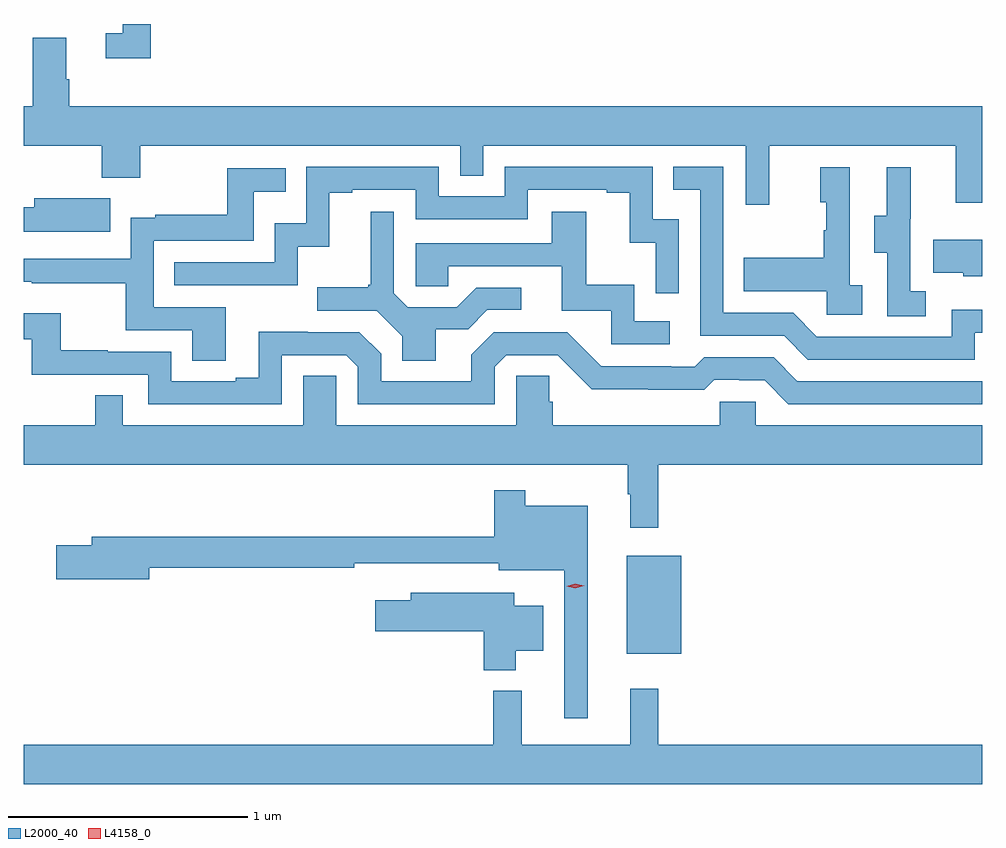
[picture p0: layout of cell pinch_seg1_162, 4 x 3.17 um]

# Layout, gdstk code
import gdstk
lib = gdstk.Library(unit=1e-6, precision=1e-09)
def R(c, l, rs):  # rectangles x0, y0, x1, y1
    for r in rs: c.add(gdstk.rectangle(r[:2], r[2:], *l))
def P(c, l, *ps):  # polygons
    for p in ps: c.add(gdstk.Polygon(p, *l))
L2000_40 = (2000, 40)
L4158_0 = (4158, 0)

pinch_seg1_162 = lib.new_cell('pinch_seg1_162')
R(pinch_seg1_162, L2000_40, [(1105.223,545.615,1105.45,546.025)])
P(pinch_seg1_162, L2000_40, [(1103.237,548.243),(1103.121,548.243),(1103.121,548.205),(1103.049,548.205),(1103.049,548.1),(1103.237,548.1)],
  [(1105.817,547.736),(1106.597,547.736),(1106.597,547.497),(1106.707,547.497),(1106.707,547.9),(1102.898,547.9),(1102.898,548.012),(1102.885,548.012),(1102.885,548.186),(1102.745,548.186),(1102.745,547.9),(1102.707,547.9),(1102.707,547.736),(1103.033,547.736),(1103.033,547.601),(1103.193,547.601),(1103.193,547.736),(1104.528,547.736),(1104.528,547.609),(1104.624,547.609),(1104.624,547.736),(1105.719,547.736),(1105.719,547.488),(1105.817,547.488)],
  [(1106.676,546.954),(1106.707,546.954),(1106.707,547.051),(1106.58,547.051),(1106.58,546.939),(1106.016,546.939),(1105.917,547.038),(1105.626,547.038),(1105.626,547.647),(1105.417,547.647),(1105.417,547.551),(1105.53,547.551),(1105.53,546.942),(1105.88,546.942),(1105.979,546.843),(1106.676,546.843)],
  [(1105.44,547.428),(1105.332,547.428),(1105.332,547.647),(1104.714,547.647),(1104.714,547.524),(1104.438,547.524),(1104.438,547.647),(1103.886,547.647),(1103.886,547.411),(1103.754,547.411),(1103.754,547.248),(1103.335,547.248),(1103.335,547.152),(1103.85,547.152),(1103.85,547.313),(1103.983,547.313),(1103.983,547.539),(1104.079,547.539),(1104.079,547.551),(1104.342,547.551),(1104.342,547.428),(1104.81,547.428),(1104.81,547.551),(1105.139,547.551),(1105.139,547.539),(1105.235,547.539),(1105.235,547.331),(1105.344,547.331),(1105.344,547.119),(1105.44,547.119)],
  [(1106.47,547.127),(1106.406,547.127),(1106.406,547.431),(1106.408,547.431),(1106.408,547.645),(1106.309,547.645),(1106.309,547.443),(1106.255,547.443),(1106.255,547.288),(1106.31,547.288),(1106.31,547.024),(1106.47,547.024)],
  [(1106.206,547.154),(1106.154,547.154),(1106.154,547.645),(1106.03,547.645),(1106.03,547.5),(1106.056,547.5),(1106.056,547.382),(1106.046,547.382),(1106.046,547.267),(1105.711,547.267),(1105.711,547.127),(1106.058,547.127),(1106.058,547.029),(1106.206,547.029)],
  [(1103.551,547.062),(1103.25,547.062),(1103.25,547.338),(1103.667,547.338),(1103.667,547.544),(1103.801,547.544),(1103.801,547.641),(1103.556,547.641),(1103.556,547.447),(1103.257,547.447),(1103.257,547.435),(1103.154,547.435),(1103.154,547.263),(1102.707,547.263),(1102.707,547.167),(1102.741,547.167),(1102.741,547.162),(1103.134,547.162),(1103.134,546.966),(1103.411,546.966),(1103.411,546.838),(1103.551,546.838)],
  [(1103.069,547.516),(1102.751,547.516),(1102.751,547.478),(1102.707,547.478),(1102.707,547.377),(1102.855,547.377),(1102.855,547.376),(1103.069,547.376)],
  [(1104.427,546.97),(1104.562,546.97),(1104.642,547.05),(1104.784,547.05),(1104.784,547.143),(1104.596,547.143),(1104.515,547.062),(1104.309,547.062),(1104.252,547.119),(1104.252,547.459),(1104.155,547.459),(1104.155,547.156),(1104.144,547.156),(1104.144,547.144),(1103.931,547.144),(1103.931,547.047),(1104.18,547.047),(1104.287,546.94),(1104.287,546.838),(1104.427,546.838)],
  [(1105.402,547.002),(1105.254,547.002),(1105.254,547.156),(1105.055,547.156),(1105.055,547.459),(1104.911,547.459),(1104.911,547.329),(1104.342,547.329),(1104.342,547.149),(1104.479,547.149),(1104.479,547.233),(1104.953,547.233),(1104.953,547.047),(1105.158,547.047),(1105.158,546.906),(1105.402,546.906)],
  [(1106.707,547.342),(1106.503,547.342),(1106.503,547.205),(1106.628,547.205),(1106.628,547.19),(1106.707,547.19)],
  [(1103.784,546.861),(1104.054,546.861),(1104.102,546.813),(1104.102,546.657),(1104.672,546.657),(1104.672,546.813),(1104.72,546.861),(1104.936,546.861),(1105.078,546.719),(1105.314,546.719),(1105.314,546.717),(1105.547,546.717),(1105.589,546.759),(1105.692,546.759),(1105.692,546.756),(1105.799,546.756),(1105.898,546.657),(1106.707,546.657),(1106.707,546.753),(1105.935,546.753),(1105.836,546.852),(1105.547,546.852),(1105.508,546.813),(1105.409,546.813),(1105.409,546.816),(1105.116,546.816),(1104.975,546.957),(1104.669,546.957),(1104.575,546.863),(1104.575,546.753),(1104.198,546.753),(1104.198,546.867),(1104.108,546.957),(1103.892,546.957),(1103.892,546.959),(1103.687,546.959),(1103.687,546.766),(1103.591,546.766),(1103.591,546.753),(1103.322,546.753),(1103.322,546.876),(1103.057,546.876),(1103.057,546.881),(1102.861,546.881),(1102.861,547.036),(1102.707,547.036),(1102.707,546.927),(1102.74,546.927),(1102.74,546.78),(1103.226,546.78),(1103.226,546.657),(1103.784,546.657)],
  [(1105.355,546.404),(1106.707,546.404),(1106.707,546.568),(1105.761,546.568),(1105.761,546.666),(1105.611,546.666),(1105.611,546.568),(1104.914,546.568),(1104.914,546.666),(1104.899,546.666),(1104.899,546.776),(1104.762,546.776),(1104.762,546.568),(1104.012,546.568),(1104.012,546.776),(1103.873,546.776),(1103.873,546.568),(1103.121,546.568),(1103.121,546.695),(1103.005,546.695),(1103.005,546.568),(1102.707,546.568),(1102.707,546.404),(1105.227,546.404),(1105.227,546.281),(1105.238,546.281),(1105.238,546.141),(1105.355,546.141)],
  [(1105.06,546.232),(1104.799,546.232),(1104.799,546.298),(1104.67,546.298),(1104.67,546.103),(1102.991,546.103),(1102.991,546.069),(1102.842,546.069),(1102.842,545.927),(1103.23,545.927),(1103.23,545.974),(1104.086,545.974),(1104.086,545.994),(1104.689,545.994),(1104.689,545.963),(1104.963,545.963),(1104.963,545.346),(1105.06,545.346)],
  [(1104.76,545.627),(1104.874,545.627),(1104.874,545.815),(1104.754,545.815),(1104.754,545.869),(1104.323,545.869),(1104.323,545.839),(1104.174,545.839),(1104.174,545.71),(1104.626,545.71),(1104.626,545.546),(1104.76,545.546)],
  [(1106.707,545.236),(1105.355,545.236),(1105.355,545.47),(1105.238,545.47),(1105.238,545.236),(1104.785,545.236),(1104.785,545.461),(1104.667,545.461),(1104.667,545.236),(1102.707,545.236),(1102.707,545.072),(1106.707,545.072)])
P(pinch_seg1_162, L4158_0, [(1105.009,545.888),(1104.973,545.897),(1104.973,545.897),(1104.973,545.897),(1105.008,545.908),(1105.044,545.9),(1105.045,545.899),(1105.044,545.899)])

lib.write_gds('pinch_seg1_162.gds')
